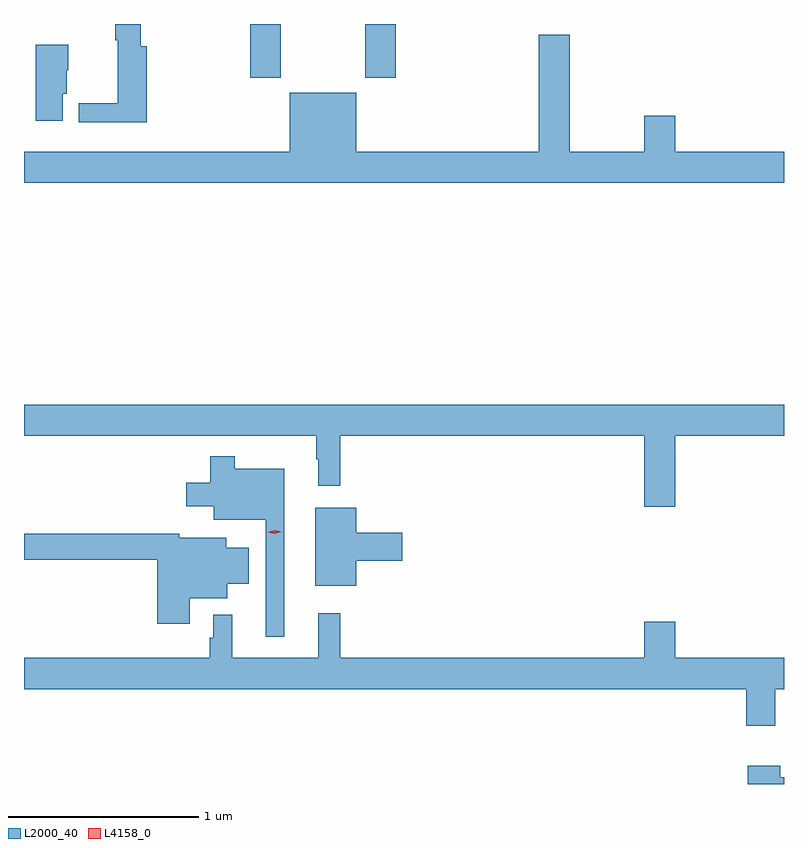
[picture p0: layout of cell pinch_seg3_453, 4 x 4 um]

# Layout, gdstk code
import gdstk
lib = gdstk.Library(unit=1e-6, precision=1e-09)
def R(c, l, rs):  # rectangles x0, y0, x1, y1
    for r in rs: c.add(gdstk.rectangle(r[:2], r[2:], *l))
def P(c, l, *ps):  # polygons
    for p in ps: c.add(gdstk.Polygon(p, *l))
L2000_40 = (2000, 40)
L4158_0 = (4158, 0)

pinch_seg3_453 = lib.new_cell('pinch_seg3_453')
R(pinch_seg3_453, L2000_40, [(894.203,670.833,894.363,671.116), (894.808,670.833,894.968,671.116)])
P(pinch_seg3_453, L2000_40, [(893.657,670.999),(893.627,670.999),(893.627,671.116),(893.269,671.116),(893.269,671.115),(893.491,671.115),(893.491,671.03),(893.506,671.03),(893.506,670.7),(893.301,670.7),(893.301,670.598),(893.657,670.598)],
  [(897.012,670.444),(896.44,670.444),(896.44,670.633),(896.276,670.633),(896.276,670.444),(895.885,670.444),(895.885,671.059),(895.721,671.059),(895.721,670.444),(894.76,670.444),(894.76,670.753),(894.41,670.753),(894.41,670.444),(893.012,670.444),(893.012,670.28),(897.012,670.28)],
  [(893.215,670.749),(893.236,670.749),(893.236,670.872),(893.245,670.872),(893.245,671.008),(893.075,671.008),(893.075,670.608),(893.215,670.608)],
  [(896.44,668.948),(897.012,668.948),(897.012,669.112),(893.012,669.112),(893.012,668.948),(894.549,668.948),(894.549,668.825),(894.56,668.825),(894.56,668.685),(894.677,668.685),(894.677,668.948),(896.276,668.948),(896.276,668.574),(896.44,668.574)],
  [(894.382,668.776),(894.121,668.776),(894.121,668.842),(893.992,668.842),(893.992,668.701),(893.865,668.701),(893.865,668.579),(894.011,668.579),(894.011,668.507),(894.285,668.507),(894.285,667.89),(894.382,667.89)],
  [(894.76,668.291),(895.003,668.291),(895.003,668.438),(894.76,668.438),(894.76,668.569),(894.545,668.569),(894.545,668.159),(894.76,668.159)],
  [(893.884,668.093),(894.082,668.093),(894.082,668.171),(894.196,668.171),(894.196,668.359),(894.076,668.359),(894.076,668.413),(893.83,668.413),(893.83,668.432),(893.012,668.432),(893.012,668.296),(893.714,668.296),(893.714,667.959),(893.884,667.959)],
  [(896.965,667.616),(897.012,667.616),(897.012,667.78),(896.44,667.78),(896.44,667.969),(896.276,667.969),(896.276,667.78),(894.677,667.78),(894.677,668.014),(894.56,668.014),(894.56,667.78),(894.107,667.78),(894.107,668.008),(894.009,668.008),(894.009,667.887),(893.989,667.887),(893.989,667.78),(893.012,667.78),(893.012,667.616),(896.813,667.616),(896.813,667.422),(896.965,667.422)],
  [(897.012,667.152),(896.992,667.152),(896.992,667.213),(896.822,667.213),(896.822,667.116),(897.012,667.116)])
P(pinch_seg3_453, L4158_0, [(894.331,668.432),(894.295,668.441),(894.295,668.441),(894.295,668.441),(894.331,668.452),(894.366,668.444),(894.367,668.444),(894.366,668.443)])

lib.write_gds('pinch_seg3_453.gds')
